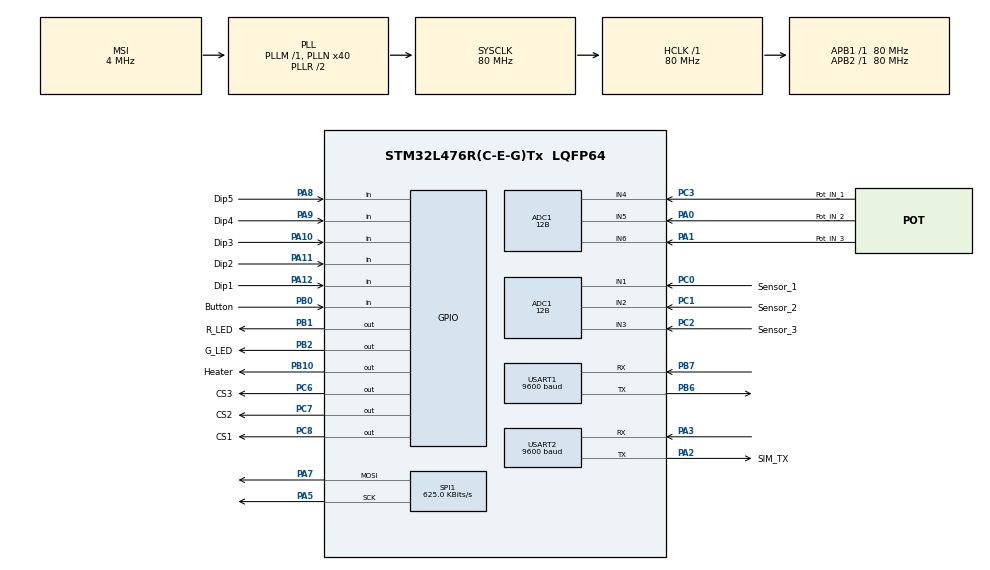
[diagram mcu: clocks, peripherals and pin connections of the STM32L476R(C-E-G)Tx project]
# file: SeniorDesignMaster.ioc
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Mcu.Family=STM32L4
RCC.CortexFreq_Value=80000000
SPI1.VirtualType=VM_MASTER
ADC1.Overrun=ADC_OVR_DATA_PRESERVED
ADC1.ContinuousConvMode=ENABLE
USART1.BaudRate=9600
SH.ADCx_IN2.0=ADC1_IN2,IN2-Single-Ended
ADC1.OffsetNumber-4\#ChannelRegularConversion=ADC_OFFSET_NONE
PA0.GPIO_Label=Pot_IN_2
PC0.GPIO_Label=Sensor_1
PC6.GPIO_Label=CS3
PB0.GPIO_Label=Button
RCC.SYSCLKSource=RCC_SYSCLKSOURCE_PLLCLK
ProjectManager.StackSize=0x400
PA12.Signal=GPIO_Input
SPI1.CLKPolarity=SPI_POLARITY_LOW
ADC1.Channel-5\#ChannelRegularConversion=ADC_CHANNEL_6
ADC1.Channel-3\#ChannelRegularConversion=ADC_CHANNEL_4
SPI1.Direction=SPI_DIRECTION_2LINES
RCC.HCLKFreq_Value=80000000
SH.ADCx_IN3.0=ADC1_IN3,IN3-Single-Ended
ADC1.Resolution=ADC_RESOLUTION_12B
RCC.APB2TimFreq_Value=80000000
PB6.Signal=USART1_TX
Dma.ADC1.0.Direction=DMA_PERIPH_TO_MEMORY
ADC1.Channel-2\#ChannelRegularConversion=ADC_CHANNEL_3
PC7.Signal=GPIO_Output
PB6.Mode=Asynchronous
SPI1.CalculateBaudRate=625.0 KBits/s
PC3.Signal=ADCx_IN4
Dma.ADC1.0.MemDataAlignment=DMA_MDATAALIGN_WORD
RCC.AHBFreq_Value=80000000
ADC1.Channel-0\#ChannelRegularConversion=ADC_CHANNEL_1
RCC.HSE_VALUE=8000000
PB2.Signal=GPIO_Output
USART2.VirtualMode-Asynchronous=VM_ASYNC
ADC1.SamplingTime-4\#ChannelRegularConversion=ADC_SAMPLETIME_2CYCLES_5
ADC1.Rank-2\#ChannelRegularConversion=3
PB1.GPIO_Label=R_LED
Dma.ADC1.0.PeriphInc=DMA_PINC_DISABLE
SPI1.DataSize=SPI_DATASIZE_16BIT
PA10.GPIO_Label=Dip3
PB7.Signal=USART1_RX
PA8.Signal=GPIO_Input
SPI1.FirstBit=SPI_FIRSTBIT_MSB
ADC1.SamplingTime-0\#ChannelRegularConversion=ADC_SAMPLETIME_2CYCLES_5
PA0.Signal=ADCx_IN5
ADC1.OffsetNumber-5\#ChannelRegularConversion=ADC_OFFSET_NONE
Mcu.Package=LQFP64
PB1.Signal=GPIO_Output
PA2.GPIO_Label=SIM_TX
PA10.Signal=GPIO_Input
ADC1.OffsetNumber-1\#ChannelRegularConversion=ADC_OFFSET_NONE
SH.ADCx_IN1.0=ADC1_IN1,IN1-Single-Ended
RCC.APB1TimFreq_Value=80000000
Dma.Request0=ADC1
SPI1.BaudRatePrescaler=SPI_BAUDRATEPRESCALER_128
ADC1.EOCSelection=ADC_EOC_SINGLE_CONV
PC2.GPIO_Label=Sensor_3
ADC1.Rank-4\#ChannelRegularConversion=5
RCC.PLLSAI1N=16
PA3.Signal=USART2_RX
PA5.Mode=TX_Only_Simplex_Unidirect_Master
RCC.MSI_VALUE=4000000
Dma.ADC1.0.Instance=DMA1_Channel1
ADC1.Rank-0\#ChannelRegularConversion=1
PA7.Mode=TX_Only_Simplex_Unidirect_Master
ADC1.Channel-4\#ChannelRegularConversion=ADC_CHANNEL_5
SH.ADCx_IN6.0=ADC1_IN6,IN6-Single-Ended
ADC1.OffsetNumber-0\#ChannelRegularConversion=ADC_OFFSET_NONE
PA9.GPIO_Label=Dip4
ADC1.OffsetNumber-3\#ChannelRegularConversion=ADC_OFFSET_NONE
PC8.Signal=GPIO_Output
PC2.Signal=ADCx_IN3
PC6.Signal=GPIO_Output
PA11.GPIO_Label=Dip2
SPI1.CLKPhase=SPI_PHASE_1EDGE
PC0.Signal=ADCx_IN1
USART2.BaudRate=9600
PA12.GPIO_Label=Dip1
ADC1.SamplingTime-2\#ChannelRegularConversion=ADC_SAMPLETIME_2CYCLES_5
PC8.GPIO_Label=CS1
USART1.VirtualMode-Asynchronous=VM_ASYNC
PA3.Mode=Asynchronous
Dma.ADC1.0.PeriphDataAlignment=DMA_PDATAALIGN_WORD
PA8.GPIO_Label=Dip5
ProjectManager.TargetToolchain=STM32CubeIDE
PB10.GPIO_Label=Heater
Dma.ADC1.0.Mode=DMA_CIRCULAR
Dma.ADC1.0.Priority=DMA_PRIORITY_MEDIUM
PA9.Signal=GPIO_Input
ADC1.Channel-1\#ChannelRegularConversion=ADC_CHANNEL_2
RCC.USBFreq_Value=32000000
RCC.LSE_VALUE=32768
PA1.Signal=ADCx_IN6
PB10.Signal=GPIO_Output
PA5.Signal=SPI1_SCK
board=custom
RCC.VCOOutputFreq_Value=160000000
NVIC.SPI1_IRQn=true\:0\:0\:false\:false\:true\:true\:true
RCC.APB2Freq_Value=80000000
SPI1.Mode=SPI_MODE_MASTER
RCC.ADCFreq_Value=32000000
PA1.GPIO_Label=Pot_IN_3
PC1.GPIO_Label=Sensor_2
SH.ADCx_IN4.0=ADC1_IN4,IN4-Single-Ended
ADC1.DMAContinuousRequests=ENABLE
ADC1.NbrOfConversion=6
ADC1.OffsetNumber-2\#ChannelRegularConversion=ADC_OFFSET_NONE
Mcu.Name=STM32L476R(C-E-G)Tx
SPI1.NSSPMode=SPI_NSS_PULSE_DISABLE
PA2.Signal=USART2_TX
PC7.GPIO_Label=CS2
ADC1.SamplingTime-1\#ChannelRegularConversion=ADC_SAMPLETIME_2CYCLES_5
RCC.SYSCLKFreq_VALUE=80000000
ADC1.master=1
ADC1.Rank-3\#ChannelRegularConversion=4
ADC1.SamplingTime-3\#ChannelRegularConversion=ADC_SAMPLETIME_2CYCLES_5
ADC1.Rank-1\#ChannelRegularConversion=2
PB7.Mode=Asynchronous
PA11.Signal=GPIO_Input
Dma.ADC1.0.MemInc=DMA_MINC_ENABLE
PB2.GPIO_Label=G_LED
ProjectManager.HeapSize=0x200
ADC1.SamplingTime-5\#ChannelRegularConversion=ADC_SAMPLETIME_2CYCLES_5
RCC.HSI_VALUE=16000000
SH.ADCx_IN5.0=ADC1_IN5,IN5-Single-Ended
NVIC.PriorityGroup=NVIC_PRIORITYGROUP_4
ADC1.NbrOfConversionFlag=1
RCC.PLLN=40
PA2.Mode=Asynchronous
PC3.GPIO_Label=Pot_IN_1
RCC.USART2CLockSelection=RCC_USART2CLKSOURCE_SYSCLK
NVIC.DMA1_Channel1_IRQn=true\:0\:0\:false\:false\:true\:false\:true
RCC.APB1Freq_Value=80000000
PB0.Signal=GPIO_Input
ADC1.ClockPrescaler=ADC_CLOCK_ASYNC_DIV2
ADC1.Rank-5\#ChannelRegularConversion=6
PC1.Signal=ADCx_IN2
PA7.Signal=SPI1_MOSI

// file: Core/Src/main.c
/* USER CODE BEGIN Header */
/**
  ******************************************************************************
  * @file           : main.c
  * @brief          : Main program body
  ******************************************************************************
  * @attention
  *
  * <h2><center>&copy; Copyright (c) 2021 STMicroelectronics.
  * All rights reserved.</center></h2>
  *
  * This software component is licensed by ST under BSD 3-Clause license,
  * the "License"; You may not use this file except in compliance with the
  * License. You may obtain a copy of the License at:
  *                        opensource.org/licenses/BSD-3-Clause
  *
  ******************************************************************************
  */
/* USER CODE END Header */
#include "main.h"

/* USER CODE BEGIN Includes */

#include <string.h>
#include <stdio.h>
#include <stdbool.h> // I ADDED THINGS HERE !!!!!!!!
#include <stdlib.h>
#include <time.h>

/* USER CODE END Includes */

/* USER CODE BEGIN PD */
#define ADC_BUF_LEN 6
/* USER CODE END PD */

ADC_HandleTypeDef hadc1;
DMA_HandleTypeDef hdma_adc1;

SPI_HandleTypeDef hspi1;

UART_HandleTypeDef huart1;
UART_HandleTypeDef huart2;

void SystemClock_Config(void);
static void MX_GPIO_Init(void);
static void MX_DMA_Init(void);
static void MX_USART2_UART_Init(void);
static void MX_SPI1_Init(void);
static void MX_ADC1_Init(void);
static void MX_USART1_UART_Init(void);
/* USER CODE BEGIN PFP */
void displayResults(int ADC_number, int i, int val);
void digitalPotWrite(int value);
int targetCheck(int val, int target, int i);
void DMATransferComplete(DMA_HandleTypeDef *hdma);
void HAL_ADC_ConvCpltCallback(ADC_HandleTypeDef *hadc);
void HAL_ADC_ConvHalfCpltCallback(ADC_HandleTypeDef* hadc);

/* USER CODE END PFP */

/* USER CODE BEGIN 0 */
int adc_buf[ADC_BUF_LEN], adc[6];

//void HAL_ADC_ConvCpltCallback(ADC_HandleTypeDef *hadc)
//{
//	for (int i = 0; i<6; i++)
//		{
//			adc[i] = buffer[i];
//		}
//}

/* USER CODE END 0 */

int main(void)
{
  /* USER CODE BEGIN 1 */
	char uart_buf[127] = {'\0'};	//buffer for output data
	int uart_buf_len = {'\0'};

  /* USER CODE END 1 */

  /* MCU Configuration--------------------------------------------------------*/

  /* Reset of all peripherals, Initializes the Flash interface and the Systick. */
  HAL_Init();

  /* USER CODE BEGIN Init */
	int target = 1024; //target analog bit value from the ADC
	uint8_t spiData[6];
	for(int j = 0; j < 6; j++){spiData[j] = 0x00;}
	int SPI_Transmit_Data_1;
	int SPI_Transmit_Data_2;
	int SPI_Transmit_Data_3;
	//char deviceID[20] = "Unit One";
	char readingType[20] = "Ambient";
	int readingNumber = 1;
	int deviceID_Number = 1;

  //define sensor warming time
  #define SENS_WARMING_TIME 10 //approx. 5 minutes

  //unsigned long lastMillis = 0; // I ADDED THINGS HERE !!!!!!!!
  //int long sensor1ValuesA[21]; // I ADDED THINGS HERE !!!!!!!!
  //int long sensor2ValuesA[21]; // I ADDED THINGS HERE !!!!!!!!
  //int long sensor3ValuesA[21]; // I ADDED THINGS HERE !!!!!!!!
  //int long sensor1ValuesB[21]; // I ADDED THINGS HERE !!!!!!!!
  //int long sensor2ValuesB[21]; // I ADDED THINGS HERE !!!!!!!!
  //int long sensor3ValuesB[21]; // I ADDED THINGS HERE !!!!!!!!

  //char *valuePayload; // I ADDED THINGS HERE !!!!!!!!
  //char str[80]; // how long does MQTT need to be?
  //time_t t;

  /* USER CODE END Init */

  /* Configure the system clock */
  SystemClock_Config();

  /* USER CODE BEGIN SysInit */

  //LowPower Sleep mode button-interrupt connection
  // LowPower.attachInterruptWakeup(BUTTON_PIN, wakeUp, CHANGE); // I ADDED THINGS HERE !!!!!!!! NEEDS TO BE CHANGED

   //GSM Setup
  // Serial.begin(115200); // I ADDED THINGS HERE !!!!!!!! NEEDS TO BE CHANGED
   //while (!Serial);
 //}

   // Optional, set the client id used for MQTT,
   // each device that is connected to the broker
   // must have a unique client id. The MQTTClient will generate
   // a client id for you based on the millis() value if not set
   //
  // mqttClient.setId("ISLGSM001"); // I ADDED THINGS HERE !!!!!!!! NEEDS TO BE CHANGED

   // Set the message callback, this function is
   // called when the MQTTClient receives a message
  // mqttClient.onMessage(onMessageReceived); // I ADDED THINGS HERE !!!!!!!! NEEDS TO BE CHANGED
 //}

  /* USER CODE END SysInit */

  /* Initialize all configured peripherals */
  MX_GPIO_Init();
  MX_DMA_Init();
  MX_USART2_UART_Init();
  MX_SPI1_Init();
  MX_ADC1_Init();
  MX_USART1_UART_Init();
  /* USER CODE BEGIN 2 */
  HAL_GPIO_WritePin(GPIOC, GPIO_PIN_8, GPIO_PIN_SET);	//set CS1 pin HIGH.
  HAL_GPIO_WritePin(GPIOC, GPIO_PIN_7, GPIO_PIN_SET);	//set CS2 pin HIGH.
  HAL_GPIO_WritePin(GPIOC, GPIO_PIN_6, GPIO_PIN_SET);	//set CS3 pin HIGH.
  HAL_ADC_Start_DMA(&hadc1, (uint32_t*)adc_buf, ADC_BUF_LEN);
  /* USER CODE END 2 */

  /* Infinite loop */
  /* USER CODE BEGIN WHILE */

  while (1){
	  uart_buf_len =sprintf(uart_buf, "Made it to the main loop");	  	//load print buffer with message
	  		  HAL_UART_Transmit(&huart2, (uint8_t *)uart_buf, uart_buf_len, 100);		//print to terminal
	  	//Fast blinking - Blinking red light 4 times per second for 3 seconds indicating beginning of sensor warmup
		for (int i = 0; i < 12; i++) { // I ADDED THINGS HERE !!!!!!!!
		  HAL_GPIO_WritePin(GPIOB, GPIO_PIN_1, GPIO_PIN_SET); // I ADDED THINGS HERE !!!!!!!!
		  HAL_Delay(125); // I ADDED THINGS HERE !!!!!!!!
		  HAL_GPIO_WritePin(GPIOB, GPIO_PIN_1, GPIO_PIN_RESET); // I ADDED THINGS HERE !!!!!!!!
		  HAL_Delay(125); // I ADDED THINGS HERE !!!!!!!!
		}

		//code to power up sensors here
		HAL_GPIO_WritePin(GPIOB, GPIO_PIN_10, GPIO_PIN_SET); // I ADDED THINGS HERE !!!!!!!!

		//Fast blinking - Blinking red light 1 times per second for 5 minute/s indicating sensor warming up
		 for (int i = 0; i < SENS_WARMING_TIME; i++) {
			 HAL_GPIO_WritePin(GPIOB, GPIO_PIN_1, GPIO_PIN_SET); // I ADDED THINGS HERE !!!!!!!!
			 HAL_Delay(125); // I ADDED THINGS HERE !!!!!!!!
			 HAL_GPIO_WritePin(GPIOB, GPIO_PIN_1, GPIO_PIN_RESET); // I ADDED THINGS HERE !!!!!!!!
			 HAL_Delay(875); // I ADDED THINGS HERE !!!!!!!!
		 }

		 //Fast Blinking (four times a second) Yellow for 5 sec warnning begining of data collection via MQTT
		   for (int i = 0; i < 20; i++) {
			   HAL_GPIO_WritePin(GPIOB, GPIO_PIN_1, GPIO_PIN_SET); // I ADDED THINGS HERE !!!!!!!!
			   HAL_GPIO_WritePin(GPIOB, GPIO_PIN_2, GPIO_PIN_SET); // I ADDED THINGS HERE !!!!!!!!
			   HAL_Delay(125); // I ADDED THINGS HERE !!!!!!!!
			   HAL_GPIO_WritePin(GPIOB, GPIO_PIN_1, GPIO_PIN_RESET); // I ADDED THINGS HERE !!!!!!!!
			   HAL_GPIO_WritePin(GPIOB, GPIO_PIN_2, GPIO_PIN_RESET); // I ADDED THINGS HERE !!!!!!!!
			   HAL_Delay(125); // I ADDED THINGS HERE !!!!!!!!
		   }

	  for(int measurement = 0; measurement < 10; measurement++){

		  //------------------------------Read SPI Data------------------------------//

		  spiData[0] = targetCheck(adc[0], target, spiData[0]);
		  spiData[1] = targetCheck(adc[1], target, spiData[1]);
		  spiData[2] = targetCheck(adc[2], target, spiData[2]);
		  SPI_Transmit_Data_1 = 0x00 | spiData[0];
		  SPI_Transmit_Data_2 = 0x00 | spiData[1];
		  SPI_Transmit_Data_3 = 0x00 | spiData[2];

		  //------------------------------Transmit SPI Data to 3 Digital Potentiometers------------------------------//

		  HAL_GPIO_WritePin(GPIOC, GPIO_PIN_8, GPIO_PIN_RESET);				//set CS1 pin LOW.
		  HAL_SPI_Transmit(&hspi1, (uint8_t *)&SPI_Transmit_Data_1, 1, 10); //handle SPI, Cast data to a 16 bit unsigned integer, 1 bytes of data, 10 ms delay
		  while(HAL_SPI_GetState(&hspi1) != HAL_SPI_STATE_READY);
		  HAL_GPIO_WritePin(GPIOC, GPIO_PIN_8, GPIO_PIN_SET);				//set CS1 pin HIGH.
		  HAL_Delay(200);

		  HAL_GPIO_WritePin(GPIOC, GPIO_PIN_7, GPIO_PIN_RESET);				//set CS2 pin LOW.
		  HAL_SPI_Transmit(&hspi1, (uint8_t *)&SPI_Transmit_Data_2, 1, 10); //handle SPI, Cast data to a 16 bit unsigned integer, 1 bytes of data, 10 ms delay
		  while(HAL_SPI_GetState(&hspi1) != HAL_SPI_STATE_READY);
		  HAL_GPIO_WritePin(GPIOC, GPIO_PIN_7, GPIO_PIN_SET);				//set CS2 pin HIGH.

		  HAL_GPIO_WritePin(GPIOC, GPIO_PIN_6, GPIO_PIN_RESET);				//set CS3 pin LOW.
		  HAL_SPI_Transmit(&hspi1, (uint8_t *)&SPI_Transmit_Data_3, 1, 10); //handle SPI, Cast data to a 16 bit unsigned integer, 1 bytes of data, 10 ms delay
		  while(HAL_SPI_GetState(&hspi1) != HAL_SPI_STATE_READY);
		  HAL_GPIO_WritePin(GPIOC, GPIO_PIN_6, GPIO_PIN_SET);				//set CS3 pin HIGH.

		  //------------------------------Send USART Data to Particle Boron Board------------------------------//

		  uart_buf_len =sprintf(uart_buf, "Unit %d, %d, %d, %d, %s, %d\n", deviceID_Number, adc[0], adc[1], adc[2], readingType, readingNumber);	  		//load print buffer with message
		  HAL_UART_Transmit(&huart1, (uint8_t *)uart_buf, uart_buf_len, 100);	//print to terminal
		  readingNumber++;

		  //------------------------------Display Results to Terminal------------------------------//

		  uart_buf_len =sprintf(uart_buf, "Test #%d\n", measurement);	  		//load print buffer with message
		  HAL_UART_Transmit(&huart2, (uint8_t *)uart_buf, uart_buf_len, 100);	//print to terminal
		  for(int i = 0; i < 3; i++){											//iterate through SPI array and print results to terminal
			  displayResults(i+1, spiData[i], adc[i]);
		  }
		  HAL_Delay(1500);

	  }

	  //shows a red,yellow,green "get ready" sequence
	  HAL_GPIO_WritePin(GPIOB, GPIO_PIN_1, GPIO_PIN_SET); // I ADDED THINGS HERE !!!!!!!! Red LED on
	  HAL_Delay(3000);
	  HAL_GPIO_WritePin(GPIOB, GPIO_PIN_2, GPIO_PIN_SET); // I ADDED THINGS HERE !!!!!!!! Green LED on
	  HAL_Delay(3000);
	  HAL_GPIO_WritePin(GPIOB, GPIO_PIN_1, GPIO_PIN_RESET); // I ADDED THINGS HERE !!!!!!!! Red LED off
      //FOR USER: BREATHE INTO THE SENSOR

	  char readingType[20] = "Breath";
	  for(int measurement = 0; measurement < 10; measurement++){
		  uart_buf_len =sprintf(uart_buf, "Unit %d, %d, %d, %d, %s, %d\n", deviceID_Number, adc[0], adc[1], adc[2], readingType, readingNumber);	  		//load print buffer with message
		  HAL_UART_Transmit(&huart1, (uint8_t *)uart_buf, uart_buf_len, 100);	//print to terminal

		  uart_buf_len =sprintf(uart_buf, "Potentiometer 1 Value (0 - 128): %d \
				  	  	  	  	  	  	   \n\rPotentiometer 2 Value (0 - 128): %d \
				                           \n\rPotentiometer 3 Value (0 - 128): %d", SPI_Transmit_Data_1, SPI_Transmit_Data_2);	  	//load print buffer with message
		  HAL_UART_Transmit(&huart2, (uint8_t *)uart_buf, uart_buf_len, 100);		//print to terminal

		  uart_buf_len =sprintf(uart_buf, "\n\rSent To Boron --> \"Unit %d, %d, %d, %s, %d\"\r\n\n", deviceID_Number, adc[0], adc[1], readingType, readingNumber);	  	//load print buffer with message
		  HAL_UART_Transmit(&huart2, (uint8_t *)uart_buf, uart_buf_len, 100);		//print to terminal
		  readingNumber++;
	  	  HAL_Delay(1500);
	  }
	  readingNumber = 0;
	  deviceID_Number = 1;

	  HAL_GPIO_WritePin(GPIOB, GPIO_PIN_10, GPIO_PIN_RESET); // mosfet pin low (stops current flow to heater pins)
	  HAL_GPIO_WritePin(GPIOB, GPIO_PIN_2, GPIO_PIN_RESET); // Green LED off

	  HAL_Delay(1500);
  }
}
    /* USER CODE END WHILE */

void SystemClock_Config(void)
{
  RCC_OscInitTypeDef RCC_OscInitStruct = {0};
  RCC_ClkInitTypeDef RCC_ClkInitStruct = {0};
  RCC_PeriphCLKInitTypeDef PeriphClkInit = {0};

  /** Initializes the RCC Oscillators according to the specified parameters
  * in the RCC_OscInitTypeDef structure.
  */
  RCC_OscInitStruct.OscillatorType = RCC_OSCILLATORTYPE_MSI;
  RCC_OscInitStruct.MSIState = RCC_MSI_ON;
  RCC_OscInitStruct.MSICalibrationValue = 0;
  RCC_OscInitStruct.MSIClockRange = RCC_MSIRANGE_6;
  RCC_OscInitStruct.PLL.PLLState = RCC_PLL_ON;
  RCC_OscInitStruct.PLL.PLLSource = RCC_PLLSOURCE_MSI;
  RCC_OscInitStruct.PLL.PLLM = 1;
  RCC_OscInitStruct.PLL.PLLN = 40;
  RCC_OscInitStruct.PLL.PLLP = RCC_PLLP_DIV7;
  RCC_OscInitStruct.PLL.PLLQ = RCC_PLLQ_DIV2;
  RCC_OscInitStruct.PLL.PLLR = RCC_PLLR_DIV2;
  if (HAL_RCC_OscConfig(&RCC_OscInitStruct) != HAL_OK)
  {
    Error_Handler();
  }
  /** Initializes the CPU, AHB and APB buses clocks
  */
  RCC_ClkInitStruct.ClockType = RCC_CLOCKTYPE_HCLK|RCC_CLOCKTYPE_SYSCLK
                              |RCC_CLOCKTYPE_PCLK1|RCC_CLOCKTYPE_PCLK2;
  RCC_ClkInitStruct.SYSCLKSource = RCC_SYSCLKSOURCE_PLLCLK;
  RCC_ClkInitStruct.AHBCLKDivider = RCC_SYSCLK_DIV1;
  RCC_ClkInitStruct.APB1CLKDivider = RCC_HCLK_DIV1;
  RCC_ClkInitStruct.APB2CLKDivider = RCC_HCLK_DIV1;

  if (HAL_RCC_ClockConfig(&RCC_ClkInitStruct, FLASH_LATENCY_4) != HAL_OK)
  {
    Error_Handler();
  }
  PeriphClkInit.PeriphClockSelection = RCC_PERIPHCLK_USART1|RCC_PERIPHCLK_USART2
                              |RCC_PERIPHCLK_ADC;
  PeriphClkInit.Usart1ClockSelection = RCC_USART1CLKSOURCE_PCLK2;
  PeriphClkInit.Usart2ClockSelection = RCC_USART2CLKSOURCE_SYSCLK;
  PeriphClkInit.AdcClockSelection = RCC_ADCCLKSOURCE_PLLSAI1;
  PeriphClkInit.PLLSAI1.PLLSAI1Source = RCC_PLLSOURCE_MSI;
  PeriphClkInit.PLLSAI1.PLLSAI1M = 1;
  PeriphClkInit.PLLSAI1.PLLSAI1N = 16;
  PeriphClkInit.PLLSAI1.PLLSAI1P = RCC_PLLP_DIV7;
  PeriphClkInit.PLLSAI1.PLLSAI1Q = RCC_PLLQ_DIV2;
  PeriphClkInit.PLLSAI1.PLLSAI1R = RCC_PLLR_DIV2;
  PeriphClkInit.PLLSAI1.PLLSAI1ClockOut = RCC_PLLSAI1_ADC1CLK;
  if (HAL_RCCEx_PeriphCLKConfig(&PeriphClkInit) != HAL_OK)
  {
    Error_Handler();
  }
  /** Configure the main internal regulator output voltage
  */
  if (HAL_PWREx_ControlVoltageScaling(PWR_REGULATOR_VOLTAGE_SCALE1) != HAL_OK)
  {
    Error_Handler();
  }
}

static void MX_ADC1_Init(void)
{

  ADC_MultiModeTypeDef multimode = {0};
  ADC_ChannelConfTypeDef sConfig = {0};

  /** Common config
  */
  hadc1.Instance = ADC1;
  hadc1.Init.ClockPrescaler = ADC_CLOCK_ASYNC_DIV2;
  hadc1.Init.Resolution = ADC_RESOLUTION_12B;
  hadc1.Init.DataAlign = ADC_DATAALIGN_RIGHT;
  hadc1.Init.ScanConvMode = ADC_SCAN_ENABLE;
  hadc1.Init.EOCSelection = ADC_EOC_SINGLE_CONV;
  hadc1.Init.LowPowerAutoWait = DISABLE;
  hadc1.Init.ContinuousConvMode = ENABLE;
  hadc1.Init.NbrOfConversion = 6;
  hadc1.Init.DiscontinuousConvMode = DISABLE;
  hadc1.Init.ExternalTrigConv = ADC_SOFTWARE_START;
  hadc1.Init.ExternalTrigConvEdge = ADC_EXTERNALTRIGCONVEDGE_NONE;
  hadc1.Init.DMAContinuousRequests = ENABLE;
  hadc1.Init.Overrun = ADC_OVR_DATA_PRESERVED;
  hadc1.Init.OversamplingMode = DISABLE;
  if (HAL_ADC_Init(&hadc1) != HAL_OK)
  {
    Error_Handler();
  }
  /** Configure the ADC multi-mode
  */
  multimode.Mode = ADC_MODE_INDEPENDENT;
  if (HAL_ADCEx_MultiModeConfigChannel(&hadc1, &multimode) != HAL_OK)
  {
    Error_Handler();
  }
  /** Configure Regular Channel
  */
  sConfig.Channel = ADC_CHANNEL_1;
  sConfig.Rank = ADC_REGULAR_RANK_1;
  sConfig.SamplingTime = ADC_SAMPLETIME_2CYCLES_5;
  sConfig.SingleDiff = ADC_SINGLE_ENDED;
  sConfig.OffsetNumber = ADC_OFFSET_NONE;
  sConfig.Offset = 0;
  if (HAL_ADC_ConfigChannel(&hadc1, &sConfig) != HAL_OK)
  {
    Error_Handler();
  }
  /** Configure Regular Channel
  */
  sConfig.Channel = ADC_CHANNEL_2;
  sConfig.Rank = ADC_REGULAR_RANK_2;
  if (HAL_ADC_ConfigChannel(&hadc1, &sConfig) != HAL_OK)
  {
    Error_Handler();
  }
  /** Configure Regular Channel
  */
  sConfig.Channel = ADC_CHANNEL_3;
  sConfig.Rank = ADC_REGULAR_RANK_3;
  if (HAL_ADC_ConfigChannel(&hadc1, &sConfig) != HAL_OK)
  {
    Error_Handler();
  }
  /** Configure Regular Channel
  */
  sConfig.Channel = ADC_CHANNEL_4;
  sConfig.Rank = ADC_REGULAR_RANK_4;
  if (HAL_ADC_ConfigChannel(&hadc1, &sConfig) != HAL_OK)
  {
    Error_Handler();
  }
  /** Configure Regular Channel
  */
  sConfig.Channel = ADC_CHANNEL_5;
  sConfig.Rank = ADC_REGULAR_RANK_5;
  if (HAL_ADC_ConfigChannel(&hadc1, &sConfig) != HAL_OK)
  {
    Error_Handler();
  }
  /** Configure Regular Channel
  */
  sConfig.Channel = ADC_CHANNEL_6;
  sConfig.Rank = ADC_REGULAR_RANK_6;
  if (HAL_ADC_ConfigChannel(&hadc1, &sConfig) != HAL_OK)
  {
    Error_Handler();
  }

}

static void MX_SPI1_Init(void)
{

  /* SPI1 parameter configuration*/
  hspi1.Instance = SPI1;
  hspi1.Init.Mode = SPI_MODE_MASTER;
  hspi1.Init.Direction = SPI_DIRECTION_2LINES;
  hspi1.Init.DataSize = SPI_DATASIZE_16BIT;
  hspi1.Init.CLKPolarity = SPI_POLARITY_LOW;
  hspi1.Init.CLKPhase = SPI_PHASE_1EDGE;
  hspi1.Init.NSS = SPI_NSS_SOFT;
  hspi1.Init.BaudRatePrescaler = SPI_BAUDRATEPRESCALER_128;
  hspi1.Init.FirstBit = SPI_FIRSTBIT_MSB;
  hspi1.Init.TIMode = SPI_TIMODE_DISABLE;
  hspi1.Init.CRCCalculation = SPI_CRCCALCULATION_DISABLE;
  hspi1.Init.CRCPolynomial = 7;
  hspi1.Init.CRCLength = SPI_CRC_LENGTH_DATASIZE;
  hspi1.Init.NSSPMode = SPI_NSS_PULSE_DISABLE;
  if (HAL_SPI_Init(&hspi1) != HAL_OK)
  {
    Error_Handler();
  }

}

static void MX_USART1_UART_Init(void)
{

  huart1.Instance = USART1;
  huart1.Init.BaudRate = 9600;
  huart1.Init.WordLength = UART_WORDLENGTH_8B;
  huart1.Init.StopBits = UART_STOPBITS_1;
  huart1.Init.Parity = UART_PARITY_NONE;
  huart1.Init.Mode = UART_MODE_TX_RX;
  huart1.Init.HwFlowCtl = UART_HWCONTROL_NONE;
  huart1.Init.OverSampling = UART_OVERSAMPLING_16;
  huart1.Init.OneBitSampling = UART_ONE_BIT_SAMPLE_DISABLE;
  huart1.AdvancedInit.AdvFeatureInit = UART_ADVFEATURE_NO_INIT;
  if (HAL_UART_Init(&huart1) != HAL_OK)
  {
    Error_Handler();
  }

}

static void MX_USART2_UART_Init(void)
{

  huart2.Instance = USART2;
  huart2.Init.BaudRate = 115200;
  huart2.Init.WordLength = UART_WORDLENGTH_8B;
  huart2.Init.StopBits = UART_STOPBITS_1;
  huart2.Init.Parity = UART_PARITY_NONE;
  huart2.Init.Mode = UART_MODE_TX_RX;
  huart2.Init.HwFlowCtl = UART_HWCONTROL_NONE;
  huart2.Init.OverSampling = UART_OVERSAMPLING_16;
  huart2.Init.OneBitSampling = UART_ONE_BIT_SAMPLE_DISABLE;
  huart2.AdvancedInit.AdvFeatureInit = UART_ADVFEATURE_NO_INIT;
  if (HAL_UART_Init(&huart2) != HAL_OK)
  {
    Error_Handler();
  }

}

static void MX_DMA_Init(void)
{

  /* DMA controller clock enable */
  __HAL_RCC_DMA1_CLK_ENABLE();

  /* DMA interrupt init */
  /* DMA1_Channel1_IRQn interrupt configuration */
  HAL_NVIC_SetPriority(DMA1_Channel1_IRQn, 0, 0);
  HAL_NVIC_EnableIRQ(DMA1_Channel1_IRQn);

}

static void MX_GPIO_Init(void)
{
  GPIO_InitTypeDef GPIO_InitStruct = {0};

  /* GPIO Ports Clock Enable */
  __HAL_RCC_GPIOC_CLK_ENABLE();
  __HAL_RCC_GPIOA_CLK_ENABLE();
  __HAL_RCC_GPIOB_CLK_ENABLE();

  /*Configure GPIO pin Output Level */
  HAL_GPIO_WritePin(GPIOB, R_LED_Pin|G_LED_Pin|Heater_Pin, GPIO_PIN_RESET);

  /*Configure GPIO pin Output Level */
  HAL_GPIO_WritePin(GPIOC, CS3_Pin|CS2_Pin|CS1_Pin, GPIO_PIN_RESET);

  /*Configure GPIO pins : R_LED_Pin G_LED_Pin Heater_Pin */
  GPIO_InitStruct.Pin = R_LED_Pin|G_LED_Pin|Heater_Pin;
  GPIO_InitStruct.Mode = GPIO_MODE_OUTPUT_PP;
  GPIO_InitStruct.Pull = GPIO_NOPULL;
  GPIO_InitStruct.Speed = GPIO_SPEED_FREQ_LOW;
  HAL_GPIO_Init(GPIOB, &GPIO_InitStruct);

  /*Configure GPIO pins : CS3_Pin CS2_Pin CS1_Pin */
  GPIO_InitStruct.Pin = CS3_Pin|CS2_Pin|CS1_Pin;
  GPIO_InitStruct.Mode = GPIO_MODE_OUTPUT_PP;
  GPIO_InitStruct.Pull = GPIO_NOPULL;
  GPIO_InitStruct.Speed = GPIO_SPEED_FREQ_LOW;
  HAL_GPIO_Init(GPIOC, &GPIO_InitStruct);

  /*Configure GPIO pins : Dip5_Pin Dip4_Pin Dip3_Pin Dip2_Pin
                           Dip1_Pin */
  GPIO_InitStruct.Pin = Dip5_Pin|Dip4_Pin|Dip3_Pin|Dip2_Pin
                          |Dip1_Pin;
  GPIO_InitStruct.Mode = GPIO_MODE_INPUT;
  GPIO_InitStruct.Pull = GPIO_NOPULL;
  HAL_GPIO_Init(GPIOA, &GPIO_InitStruct);

}

/* USER CODE BEGIN 4 */
void displayResults(int ADC_number, int i, int val){
  char uart_buf[350] = {'\0'};	//buffer for output data
  int uart_buf_len = {'\0'};
  float voltage = (3.3/4096) * val;
  float potValue = (10000/128) * i;

  uart_buf_len =sprintf(uart_buf, "\tADC: #%d\n \
		  	  	  	  	  	  	  \r\t\tPotentiometer Value (0 - 128): %d\n \
		  	  	  	  	  	  	  \r\t\tResistance: .................. %.0f Ohms\n \
		  	  	  	  	  	  	  \r\t\tADC Value (0 - 4096): ........ %d\n \
		  	  	  	  	  	  	  \r\t\tADC Voltage: ................. %.2fV\n\n\r", ADC_number, i, potValue, val, voltage);	  	//load print buffer with message
  HAL_UART_Transmit(&huart2, (uint8_t *)uart_buf, uart_buf_len, 100);		//print to terminal
}

int targetCheck(int val, int target, int i){
	//char uart_buf[50] = {'\0'};	//buffer for output data
	//int uart_buf_len = {'\0'};

	//uart_buf_len =sprintf(uart_buf, "\rpotentiometer bit value inside function = %d\r\n", i);	  	//load print buffer with message
	//HAL_UART_Transmit(&huart2, (uint8_t *)uart_buf, uart_buf_len, 100);		//print to terminal

	//check for distance val is from the target
	//if the analog value is greater than 50% of the target value, decrease 'i' by 50
		/*if (val > 1.50 * target)
			i = i - 50;
		//if the analog value is greater than 40% of the target value, decrease 'i' by 40
		else if (val > 1.40 * target)
			i = i - 40;
		//if the analog value is greater than 30% of the target value, decrease 'i' by 30
		else if (val > 1.30 * target)
			i = i - 30;
			*/
		//if the analog value is greater than 20% of the target value, decrease 'i' by 20
		if (val > 1.20 * target)
			i = i - 20;
		//if the analog value is greater than 10% of the target value, decrease 'i' by 10
		else if (val > 1.10 * target)
			i = i - 10;
		//if the analog value is greater than 20% of the target value, decrease 'i' by 5
		if (val > 1.04 * target)
			i = i - 5;
		//if the analog value is greater than 20% of the target value, decrease 'i' by 1
		else if (val > target)
			i = i - 1;
		//--------------------------------------------------------------------------------------------------------------
		//if the analog value is greater than 20% of the target value, decrease 'i' by 50
		else if (val < (1- 0.50) * target){
			i = i + 50;
		}
		else if (val < (1- 0.04) * target){
			i = i + 5;
		}
		//if the analog value is greater than 40% of the target value, decrease 'i' by 50
		else if (val < (1- 0.10) * target){
			i = i + 10;
		}
		//if the analog value is greater than 30% of the target value, decrease 'i' by 50
		else if (val < (1- 0.20) * target){
			i = i + 20;
		}
		//if the analog value is greater than 20% of the target value, decrease 'i' by 50
		else if (val < (1- 0.30) * target){
			i = i + 30;
		}
		//if the analog value is greater than 10% of the target value, decrease 'i' by 50
		else if (val < (1- 0.40) * target){
			i = i + 40;
		}
		else if (val < target){
			i = i + 1;
		}
		else
			i = i;

	//dataString = createCSV(val,val,val,tNum);
	if(i > 128){
	  //uart_buf_len =sprintf(uart_buf, "Entered if Statement about 128\n");	  	//load print buffer with message
	  //HAL_UART_Transmit(&huart2, (uint8_t *)uart_buf, uart_buf_len, 100);		//print to terminal
	  i = 128;
	}
	if(i < 0){
	  //uart_buf_len =sprintf(uart_buf, "Entered if Statement below 0\n");	  	//load print buffer with message
	  //HAL_UART_Transmit(&huart2, (uint8_t *)uart_buf, uart_buf_len, 100);		//print to terminal
	  i = 0;
	}
	//uart_buf_len =sprintf(uart_buf, "\rpot value being returned after algorithm = %d\r\n", i);	  	//load print buffer with message
	//HAL_UART_Transmit(&huart2, (uint8_t *)uart_buf, uart_buf_len, 100);		//print to terminal
	return i;
}

void digitalPotWrite(int value){
	//char uart_buf[50] = {'\0'};	//buffer for output data
	//int uart_buf_len = {'\0'};

	//uart_buf_len =sprintf(uart_buf, "\rWriting %d to the ADC\r\n\n", value);	  	//load print buffer with message
	//HAL_UART_Transmit(&huart2, (uint8_t *)uart_buf, uart_buf_len, 100);				//print to terminal

	//HAL_GPIO_WritePin(GPIOC, GPIO_PIN_8, GPIO_PIN_RESET);	//set CS1 pin LOW.
	//HAL_SPI_Transmit(&hspi1, (uint8_t *)&value, 1, 400); //handle SPI, Cast data to a 16 bit unsigned integer, 2 bytes of data, 400 ms delay
	//HAL_Delay(100);
	//HAL_GPIO_WritePin(GPIOC, GPIO_PIN_8, GPIO_PIN_SET);	//set CS1 pin HIGH.
	//HAL_Delay(100);
	}

void HAL_ADC_ConvHalfCpltCallback(ADC_HandleTypeDef* hadc){
	/*char uart_buf[50] = {'\0'};	//buffer for output data
	int uart_buf_len = {'\0'};
	uart_buf_len =sprintf(uart_buf, "\rFirt ADC Handle\r\n\n");	  	//load print buffer with message
	HAL_UART_Transmit(&huart2, (uint8_t *)uart_buf, uart_buf_len, 100);*/
}

void HAL_ADC_ConvCpltCallback(ADC_HandleTypeDef *hadc)
{
	adc[0] = adc_buf[0];
	adc[1] = adc_buf[1];
	adc[2] = adc_buf[2];
	adc[3] = adc_buf[3];
	adc[4] = adc_buf[4];
	adc[5] = adc_buf[5];
}

/*void HAL_ADC_ConvCpltCallback(ADC_HandleTypeDef* hadc){
	char uart_buf[50] = {'\0'};	//buffer for output data
	int uart_buf_len = {'\0'};
	uart_buf_len =sprintf(uart_buf, "\rSecond ADC Handle\r\n\n");	  	//load print buffer with message
	HAL_UART_Transmit(&huart2, (uint8_t *)uart_buf, uart_buf_len, 100);
}*/
/* USER CODE END 4 */

void Error_Handler(void)
{
  /* USER CODE BEGIN Error_Handler_Debug */
	  /* User can add his own implementation to report the HAL error return state */
	  __disable_irq();
	  while (1){
	  }
  /* USER CODE BEGIN Error_Handler_Debug */
  /* User can add his own implementation to report the HAL error return state */

  /* USER CODE END Error_Handler_Debug */
}

/************************ (C) COPYRIGHT STMicroelectronics *****END OF FILE****/
